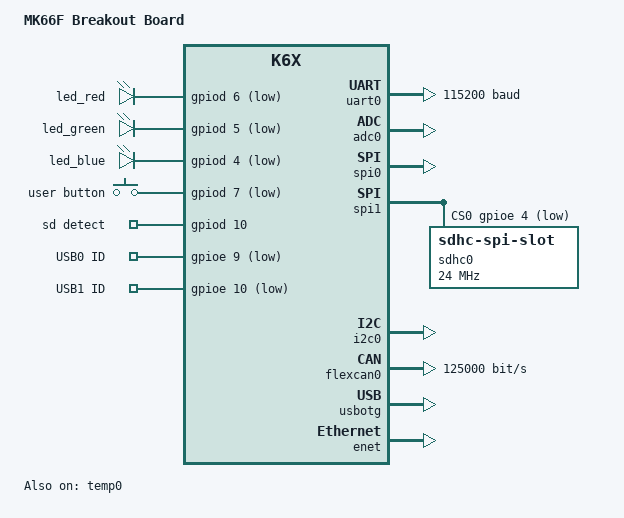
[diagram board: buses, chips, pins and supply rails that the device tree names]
/dts-v1/;

#include <nxp/nxp_k6x.dtsi>
#include "k66f_breakout-pinctrl.dtsi"

/ {
	// bare minimum
	model = "MK66F Breakout Board";
	compatible = "nxp,mk66f18", "nxp,k66f", "nxp,k6x";

	chosen {
		zephyr,sram = &sram0;
		zephyr,flash = &flash0;
		zephyr,code-partition = &slot0_partition;
		zephyr,console = &uart0;
	};

	// supported peripherals
	aliases {
		led0 = &led_red;
		sw0 = &user_button;
	};

	leds {
		compatible = "gpio-leds";
		led_red: led_0 {
			gpios = <&gpiod 6 GPIO_ACTIVE_LOW>;
		};
		led_green: led_1 {
			gpios = <&gpiod 5 GPIO_ACTIVE_LOW>;
		};
		led_blue: led_2 {
			gpios = <&gpiod 4 GPIO_ACTIVE_LOW>;
		};
	};

	buttons {
		compatible = "gpio-keys";
		user_button: button_0 {
			gpios = <&gpiod 7 (GPIO_ACTIVE_LOW | GPIO_PULL_UP)>;
			label = "user button";
		};
		sd_detect: sd_det_0 {
			gpios = <&gpiod 10 (GPIO_ACTIVE_HIGH | GPIO_PULL_DOWN)>;
			label = "sd detect";
		};
		usbid_0: usbid_0 {
			gpios = <&gpioe 9 (GPIO_ACTIVE_LOW | GPIO_PULL_UP)>;
			label = "USB0 ID";
		};
		usbid_1: usbid_1 {
			gpios = <&gpioe 10 (GPIO_ACTIVE_LOW | GPIO_PULL_UP)>;
			label = "USB1 ID";
		};
	};
};

// bare minimum
&sim {
	pllfll-select = <KINETIS_SIM_PLLFLLSEL_MCGPLLCLK>;
	er32k-select = <KINETIS_SIM_ER32KSEL_RTC>;

	// needed if going at 180MHz
	// bus_clk {
	// 	clock-div = <3>;
	// };

	// flash_clk {
	// 	clock-div = <7>;
	// };
};

&cpu0 {
	clock-frequency = <120000000>;
};

&flash0 {
	partitions {
		compatible = "fixed-partitions";
		#address-cells = <1>;
		#size-cells = <1>;

		boot_partition: partition@0 {
			label = "mcuboot";
			reg = <0x00000000 0x00010000>;
			read-only;
		};

		/*
		 * The flash starting at 0x00010000 and ending at
		 * 0x0001ffff (sectors 16-31) is reserved for use
		 * by the application.
		 */
		storage_partition: partition@1e000 {
			label = "storage";
			reg = <0x0001e000 0x00002000>;
		};

		slot0_partition: partition@20000 {
			label = "image-0";
			reg = <0x00020000 0x00060000>;
		};
		slot1_partition: partition@80000 {
			label = "image-1";
			reg = <0x00080000 0x00060000>;
		};
		scratch_partition: partition@e0000 {
			label = "image-scratch";
			reg = <0x000e0000 0x00020000>;
		};
	};
};

&gpioa {
	status = "okay";
};

&gpiob {
	status = "okay";
};

&gpioc {
	status = "okay";
};

&gpiod {
	status = "okay";
};

&gpioe {
	status = "okay";
};

&uart0 {
	status = "okay";
	current-speed = <115200>;
	pinctrl-0 = <&uart0_default>;
	pinctrl-names = "default";
};

// supported peripherals
&adc0 {
	status = "okay";
};

&temp0 {
	status = "okay";
};

&spi0 {
	status = "okay";
	pinctrl-0 = <&spi0_default>;
	pinctrl-names = "default";
	cs-gpios = <&gpioc 4 GPIO_ACTIVE_LOW>;
};

&spi1 {
	status = "okay";
	pinctrl-0 = <&spi1_default>;
	pinctrl-names = "default";
	cs-gpios = <&gpioe 4 GPIO_ACTIVE_LOW>;

	sdhc0: sdhc@0 {
		compatible = "zephyr,sdhc-spi-slot";
		reg = <0>;
		status = "okay";
		spi-max-frequency = <24000000>;
		mmc {
			compatible = "zephyr,sdmmc-disk";
			status = "okay";
		};
	};
};

&i2c0 {
	status = "okay";
	pinctrl-0 = <&i2c0_default>;
	pinctrl-names = "default";
};

&flexcan0 {
	status = "okay";
	pinctrl-0 = <&flexcan0_default>;
	pinctrl-names = "default";
	bus-speed = <125000>;
};

zephyr_udc0: &usbotg {
	compatible = "nxp,kinetis-usbd";
	status = "okay";
	num-bidir-endpoints = <8>;
};

&enet {
	status = "okay";
	pinctrl-0 = <&enet_default>;
	pinctrl-names = "default";
};
